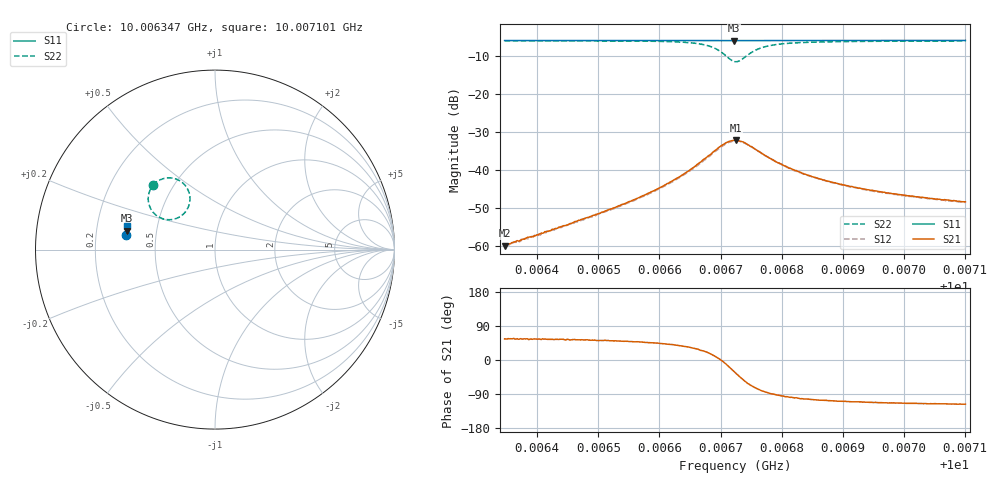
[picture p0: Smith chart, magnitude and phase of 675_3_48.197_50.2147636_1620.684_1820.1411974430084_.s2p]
#  HZ  S  RI  R  50.00
! Rohde & Schwarz Vector Network Analyzer
! Rohde-Schwarz,ZNB20-2Port,1311601062101988,3.16
! Created: UTC 3/20/2024, 12:06:18 PM
! freq[Hz]  re:S11  im:S11  re:S21  im:S21  re:S12  im:S12  re:S22  im:S22
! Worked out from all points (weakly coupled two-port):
!   401 points, 10.006347 GHz to 10.007101 GHz, reference 50 ohm
!   highest |S21| = -32.22 dB at 10.006726 GHz (marker M1); lowest = -60.0 dB at 10.006347 GHz (marker M2)
!   lowest |S11| = -6.0 dB at 10.006722 GHz (marker M3), VSWR 3.02, Z = 16.7 + j4.74 ohm
!   |S11| at or under -10 dB: nowhere
!   |S22| runs from -11.5 to -6.0 dB; largest |S21 - S12| = 0.0021
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1.00063468e10  -0.4972 0.0823  0.000563 0.000827  0.000511 0.000841  -0.3474 0.3599
1.00064731e10  -0.4958 0.0908  0.00132 0.00178  0.00121 0.0018  -0.3325 0.3727
1.00065447e10  -0.4952 0.0955  0.00234 0.00276  0.00217 0.00281  -0.3172 0.3829
1.00065993e10  -0.4944 0.0992  0.00411 0.00401  0.0038 0.00409  -0.2957 0.393
1.0006637e10  -0.4938 0.1019  0.0068 0.00511  0.00635 0.00528  -0.2666 0.3993
1.00066766e10  -0.4927 0.1044  0.0134 0.00528  0.0128 0.00582  -0.2032 0.3871
1.00066917e10  -0.4919 0.1053  0.0178 0.0029  0.017 0.00394  -0.1667 0.3584
1.00067049e10  -0.4912 0.1057  0.0216 -0.00191  0.0209 -0.000438  -0.1415 0.3062
1.00067143e10  -0.491 0.1057  0.0225 -0.00746  0.0224 -0.00565  -0.1429 0.2539
1.00067218e10  -0.4908 0.1058  0.0211 -0.0121  0.0214 -0.0103  -0.163 0.2126
1.00067237e10  -0.4909 0.1059  0.0205 -0.0132  0.021 -0.0114  -0.1705 0.2035
1.00067256e10  -0.4909 0.1058  0.0199 -0.0143  0.0204 -0.0125  -0.1791 0.1953
1.00067331e10  -0.4912 0.106  0.0163 -0.0172  0.0172 -0.0158  -0.2186 0.1725
1.00067426e10  -0.4915 0.1063  0.0112 -0.0188  0.0126 -0.0179  -0.2686 0.1672
1.00067557e10  -0.4919 0.1071  0.00571 -0.018  0.00689 -0.0176  -0.3207 0.1864
1.00067689e10  -0.492 0.1079  0.00229 -0.016  0.00328 -0.0157  -0.3493 0.2137
1.00068047e10  -0.4921 0.1106  -0.00124 -0.0112  -0.000573 -0.0111  -0.3713 0.2701
1.000685e10  -0.4918 0.1139  -0.00199 -0.00786  -0.00161 -0.00792  -0.3698 0.3061
1.00069084e10  -0.4912 0.1177  -0.00206 -0.00579  -0.00173 -0.00579  -0.3627 0.3287
1.00069762e10  -0.4901 0.1222  -0.00192 -0.00451  -0.00172 -0.00455  -0.3553 0.3436
1.0007029e10  -0.4893 0.1256  -0.00182 -0.00393  -0.00158 -0.00391  -0.3504 0.3513
1.00071006e10  -0.4885 0.1301  -0.00169 -0.00339  -0.00152 -0.00341  -0.3447 0.3594
